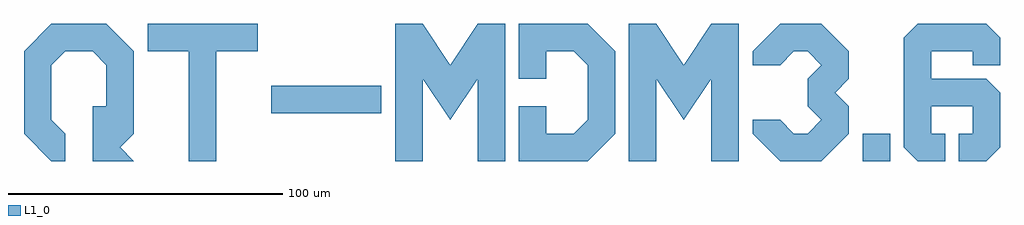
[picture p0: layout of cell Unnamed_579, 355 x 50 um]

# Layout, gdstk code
import gdstk
lib = gdstk.Library(unit=1e-6, precision=1e-09)
def R(c, l, rs):  # rectangles x0, y0, x1, y1
    for r in rs: c.add(gdstk.rectangle(r[:2], r[2:], *l))
def P(c, l, *ps):  # polygons
    for p in ps: c.add(gdstk.Polygon(p, *l))
L1_0 = (1, 0)

unnamed_579 = lib.new_cell('Unnamed_579')
R(unnamed_579, L1_0, [(310,0,320,10), (95,17.5,135,27.5)])
P(unnamed_579, L1_0, [(15,0),(5,10),(5,40),(15,50),(35,50),(45,40),(45,10),(40,5),(45,0),(30,0),(30,20),(35,20),(35,35),(30,40),(20,40),(15,35),(15,15),(20,10),(20,0)],
  [(65,0),(65,40),(50,40),(50,50),(90,50),(90,40),(75,40),(75,0)],
  [(140,0),(140,50),(150,50),(160,35),(170,50),(180,50),(180,0),(170,0),(170,30),(160,15),(150,30),(150,0)],
  [(185,0),(185,20),(195,20),(195,10),(205,10),(210,15),(210,35),(205,40),(195,40),(195,30),(185,30),(185,50),(210,50),(220,40),(220,10),(210,0)],
  [(225,0),(225,50),(235,50),(245,35),(255,50),(265,50),(265,0),(255,0),(255,30),(245,15),(235,30),(235,0)],
  [(280,0),(270,10),(270,15),(280,15),(285,10),(290,10),(295,15),(290,20),(290,30),(295,35),(290,40),(285,40),(280,35),(270,35),(270,40),(280,50),(295,50),(305,40),(305,30),(300,25),(305,20),(305,10),(295,0)],
  [(330,0),(325,5),(325,45),(330,50),(355,50),(360,45),(360,35),(350,35),(350,40),(335,40),(335,30),(355,30),(360,25),(360,5),(355,0),(345,0),(345,10),(350,10),(350,20),(335,20),(335,10),(340,10),(340,0)])

lib.write_gds('Unnamed_579.gds')
